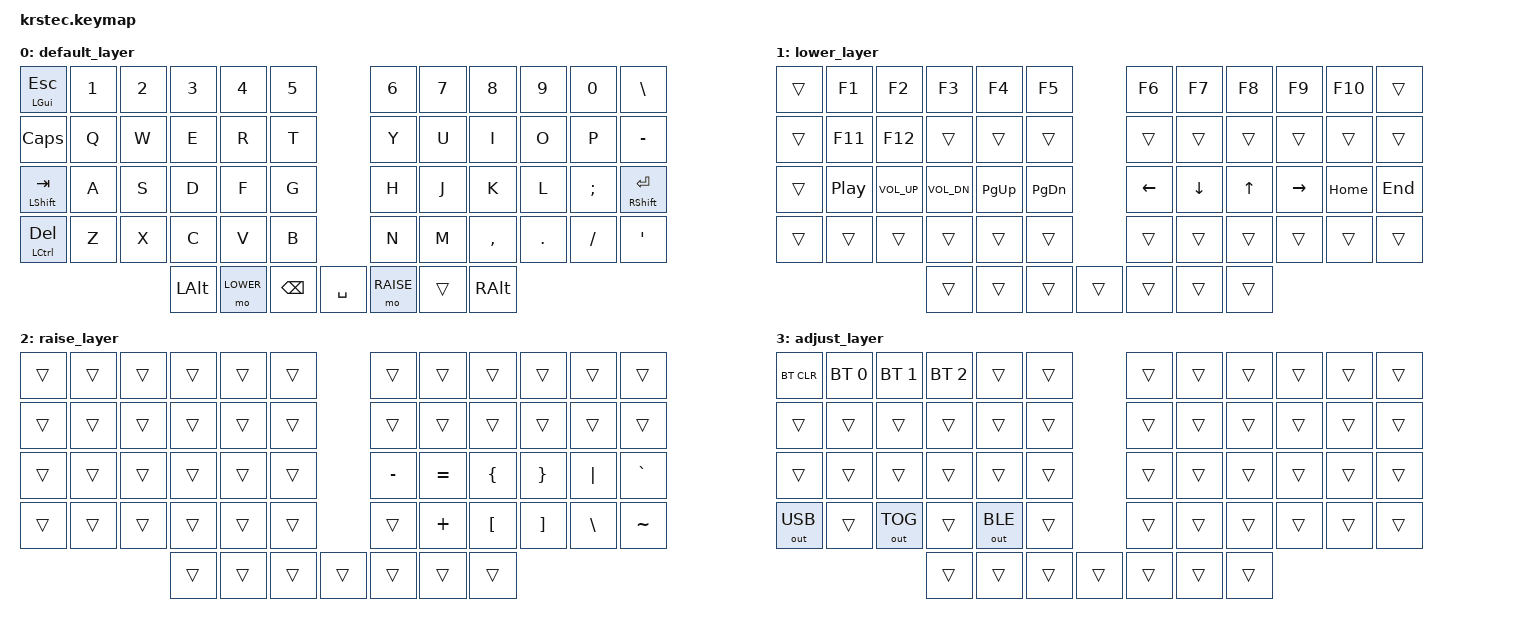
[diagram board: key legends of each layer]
#include <behaviors.dtsi>
#include <dt-bindings/zmk/keys.h>
#include <dt-bindings/zmk/bt.h>
#include <dt-bindings/zmk/outputs.h>

#define DEFAULT 0
#define LOWER 1
#define RAISE 2
#define BOTH 3

/ {
    conditional_layers {
        compatible = "zmk,conditional-layers";
        tri_layer {
            if-layers = <1 2>;
            then-layer = <3>;
        };
    };
};

/ {
    keymap {
        compatible = "zmk,keymap";

        default_layer {
            bindings = <
	&mt LGUI ESC   &kp N1 &kp N2 &kp N3  &kp N4    &kp N5             &kp N6    &kp N7  &kp N8    &kp N9  &kp N0   &kp BSLH
    &kp CAPS       &kp Q  &kp W  &kp E   &kp R     &kp T              &kp Y     &kp U   &kp I     &kp O   &kp P    &kp MINUS
    &mt LSHIFT TAB &kp A  &kp S  &kp D   &kp F     &kp G              &kp H     &kp J   &kp K     &kp L   &kp SEMI &mt RSHIFT ENTER
    &mt LCTRL DEL  &kp Z  &kp X  &kp C   &kp V     &kp B              &kp N     &kp M   &kp COMMA &kp DOT &kp FSLH &kp SQT
                                 &kp LALT &mo LOWER &kp BSPC &kp SPACE &mo RAISE &trans  &kp RALT
            >;
        };
		
		lower_layer {
            bindings = <
    &trans &kp F1   &kp F2       &kp F3       &kp F4    &kp F5        &kp F6   &kp F7   &kp F8 &kp F9    &kp F10  &trans   
    &trans &kp F11  &kp F12      &trans       &trans    &trans        &trans   &trans   &trans &trans    &trans   &trans
    &trans &kp C_PP &kp C_VOL_UP &kp C_VOL_DN &kp PG_UP &kp PG_DN     &kp LEFT &kp DOWN &kp UP &kp RIGHT &kp HOME &kp END
    &trans &trans   &trans       &trans       &trans    &trans        &trans   &trans   &trans &trans    &trans   &trans
                                 &trans       &trans    &trans &trans &trans   &trans   &trans
            >;
        };

        raise_layer {
            bindings = <
    &trans &trans &trans &trans &trans &trans        &trans    &trans    &trans           &trans            &trans    &trans
    &trans &trans &trans &trans &trans &trans        &trans    &trans    &trans           &trans            &trans    &trans
    &trans &trans &trans &trans &trans &trans        &kp MINUS &kp EQUAL &kp LEFT_BRACE   &kp RIGHT_BRACE   &kp PIPE  &kp GRAVE
    &trans &trans &trans &trans &trans &trans        &trans    &kp PLUS  &kp LEFT_BRACKET &kp RIGHT_BRACKET &kp BSLH  &kp TILDE
                         &trans &trans &trans &trans &trans    &trans    &trans
            >;
        };
		
		adjust_layer {
            bindings = <
    &bt BT_CLR   &bt BT_SEL 0 &bt BT_SEL 1 &bt BT_SEL 2 &trans       &trans        &trans &trans &trans &trans &trans &trans
    &trans       &trans       &trans       &trans       &trans       &trans        &trans &trans &trans &trans &trans &trans
    &trans       &trans       &trans       &trans       &trans       &trans        &trans &trans &trans &trans &trans &trans
    &out OUT_USB &trans       &out OUT_TOG &trans       &out OUT_BLE &trans        &trans &trans &trans &trans &trans &trans
                                           &trans       &trans       &trans &trans &trans &trans &trans
            >;
        };
		
    };
};
